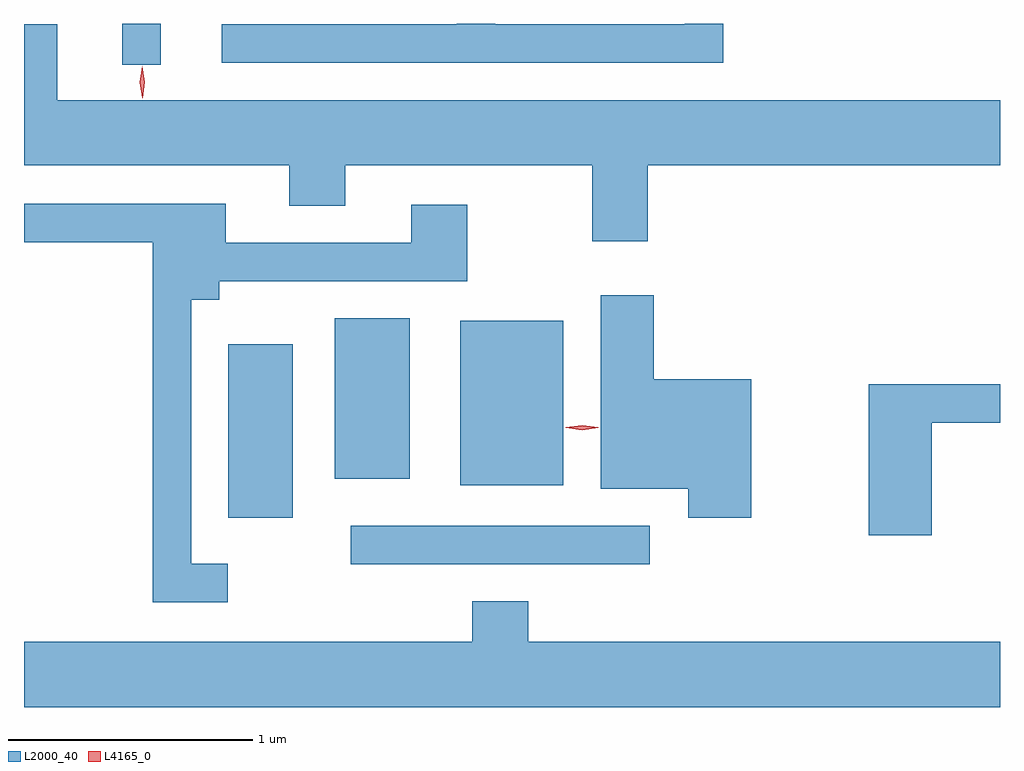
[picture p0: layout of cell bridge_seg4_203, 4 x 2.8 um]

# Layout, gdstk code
import gdstk
lib = gdstk.Library(unit=1e-6, precision=1e-09)
def R(c, l, rs):  # rectangles x0, y0, x1, y1
    for r in rs: c.add(gdstk.rectangle(r[:2], r[2:], *l))
def P(c, l, *ps):  # polygons
    for p in ps: c.add(gdstk.Polygon(p, *l))
L2000_40 = (2000, 40)
L4165_0 = (4165, 0)

bridge_seg4_203 = lib.new_cell('bridge_seg4_203')
R(bridge_seg4_203, L2000_40, [(1127.783,1286.441,1129.008,1286.599), (1127.281,1286.631,1127.544,1287.344), (1128.231,1286.766,1128.654,1287.439), (1127.716,1286.791,1128.024,1287.449), (1126.846,1288.488,1127.004,1288.656)])
P(bridge_seg4_203, L2000_40, [(1129.309,1288.656),(1129.151,1288.656),(1129.151,1288.654),(1128.374,1288.654),(1128.374,1288.656),(1128.216,1288.656),(1128.216,1288.654),(1127.253,1288.654),(1127.253,1288.496),(1129.309,1288.496)],
  [(1128.999,1288.076),(1130.443,1288.076),(1130.443,1288.344),(1126.579,1288.344),(1126.579,1288.654),(1126.443,1288.654),(1126.443,1288.076),(1127.531,1288.076),(1127.531,1287.911),(1127.759,1287.911),(1127.759,1288.076),(1128.771,1288.076),(1128.771,1287.766),(1128.999,1287.766)],
  [(1127.278,1286.444),(1127.129,1286.444),(1127.129,1287.526),(1127.244,1287.526),(1127.244,1287.601),(1128.259,1287.601),(1128.259,1287.914),(1128.031,1287.914),(1128.031,1287.759),(1127.269,1287.759),(1127.269,1287.919),(1126.443,1287.919),(1126.443,1287.761),(1126.971,1287.761),(1126.971,1286.286),(1127.278,1286.286)],
  [(1129.424,1287.199),(1129.024,1287.199),(1129.024,1287.544),(1128.806,1287.544),(1128.806,1286.751),(1129.166,1286.751),(1129.166,1286.631),(1129.424,1286.631)],
  [(1130.164,1287.021),(1130.443,1287.021),(1130.443,1287.179),(1129.906,1287.179),(1129.906,1286.561),(1130.164,1286.561)],
  [(1130.443,1286.124),(1128.509,1286.124),(1128.509,1286.289),(1128.281,1286.289),(1128.281,1286.124),(1126.443,1286.124),(1126.443,1285.856),(1130.443,1285.856)])
P(bridge_seg4_203, L4165_0, [(1128.73,1286.991),(1128.664,1287.001),(1128.664,1287.001),(1128.664,1287.002),(1128.73,1287.011),(1128.796,1287.002),(1128.797,1287.001),(1128.796,1287.001)],
  [(1126.929,1288.352),(1126.928,1288.353),(1126.918,1288.417),(1126.927,1288.482),(1126.928,1288.482),(1126.928,1288.482),(1126.938,1288.417),(1126.929,1288.353)])

lib.write_gds('bridge_seg4_203.gds')
